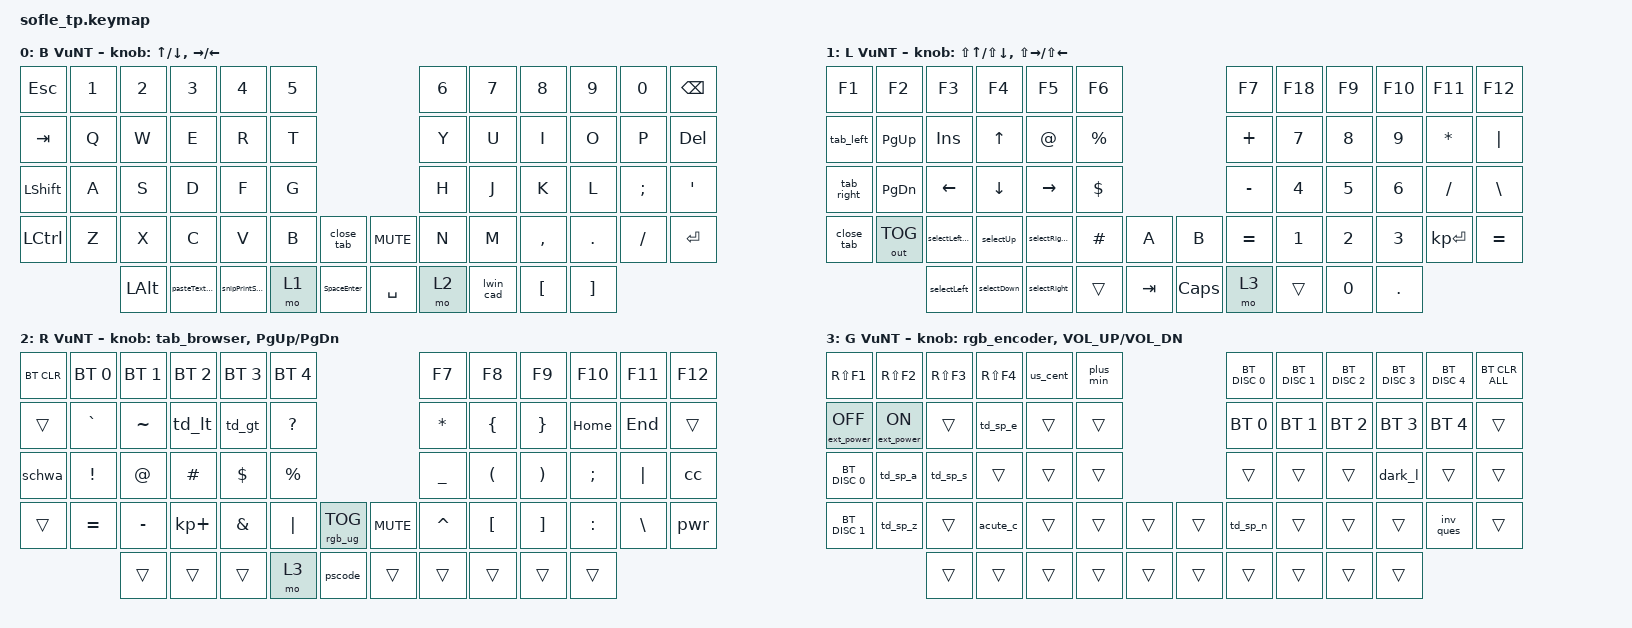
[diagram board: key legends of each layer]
/*
 * Copyright (c) 2020 The ZMK Contributors
 *
 * SPDX-License-Identifier: MIT
 */
#include <behaviors.dtsi>
#include <dt-bindings/zmk/bt.h>
#include <dt-bindings/zmk/ext_power.h>
#include <dt-bindings/zmk/keys.h>
#include <dt-bindings/zmk/outputs.h>
#include <dt-bindings/zmk/rgb.h>
#define BASE 0
#define LOWER 1
#define MOUSE_KEYS 2
#define MOUSE_TP 3
#define MOUSE_TP_SET 4
/*
 * Defines to enable/disable features
 *
 * These defines allow us to conditionally enable and disable parts of the keymap config.
 *
 * For example, if we decide to build the firmware without the mouse features, we can
 * disable all the config options that rely on those forks and modules without having
 * to edit the entire keymap file manually every time.
 */
#define HAS_MOUSE_KEYS
#define HAS_MOUSE_TP
#ifdef HAS_MOUSE_KEYS
  #include <dt-bindings/zmk/mouse.h>
  #include <behaviors/mouse_keys.dtsi>
#endif  // HAS_MOUSE_KEYS
#ifdef HAS_MOUSE_TP
  // We store the trackpoint settings in a separate file
  // to make organization a little easier.
  #include "include/mouse_tp.dtsi"
#endif  // HAS_MOUSE_TP
// Adjust layer keys based on enabled features.
//
// This prevents build errors when we build the firmware
// without the mouse keys PR or the TP module.
#ifdef HAS_MOUSE_KEYS
  #define U_THUMB_INNER &mo MOUSE_KEYS
#else
  #define U_THUMB_INNER &none
#endif  // HAS_MOUSE_KEYS
#ifdef HAS_MOUSE_TP
  #define U_TOG_TP_SET &tog MOUSE_TP_SET
#else
  #define U_TOG_TP_SET &none
#endif  // HAS_MOUSE_TP
//Encoder Support
//Alps Alpine EC11N1524402: 30 Detent, 15PPR, 2 Channel, Quadrature, 15000 Cycle
/ {
    left_encoder: encoder_left {
        compatible = "alps,ec11";
        label = "LEFT_ENCODER";
        a-gpios = <&pro_micro 21 (GPIO_ACTIVE_HIGH | GPIO_PULL_UP)>;
        b-gpios = <&pro_micro 20 (GPIO_ACTIVE_HIGH | GPIO_PULL_UP)>;
        steps = <60>;
    };




    sensors {
        compatible = "zmk,keymap-sensors";
        sensors = <&left_encoder &right_encoder>;
        sensors = <&left_encoder>;
        triggers-per-rotation = <30>;
    };
};
/ {
    macros {
        // System and Power
        tm: tm {
            label = "TASK_MANAGER";
            compatible = "zmk,behavior-macro";
            #binding-cells = <0>;
            bindings =
                <&macro_press>,
                <&kp LCTRL &kp LSHFT>,
                <&macro_tap>,
                <&kp ESC>,
                <&macro_release>,
                <&kp LCTRL &kp LSHFT &kp RCTRL &kp K_SCROLL_DOWN &kp RCTRL &kp K_SCROLL_UP>;
        };
        cad: cad {
            label = "CTRL_ALT_DEL";
            compatible = "zmk,behavior-macro";
            #binding-cells = <0>;
            bindings =
                <&macro_press>,
                <&kp LCTRL &kp LALT &kp DEL>,
                <&macro_release>,
                <&kp LCTRL &kp LALT &kp DEL>;
        };
        slp: slp {
            label = "SLEEP";
            compatible = "zmk,behavior-macro";
            #binding-cells = <0>;
            bindings =
                <&macro_press>,
                <&kp LGUI>,
                <&macro_tap>,
                <&kp X>,
                <&macro_release>,
                <&kp LGUI>,
                <&macro_tap>,
                <&kp U &kp S>;
        };
        rst: rst {
            label = "RESTART";
            compatible = "zmk,behavior-macro";
            #binding-cells = <0>;
            bindings =
                <&macro_press>,
                <&kp LGUI>,
                <&macro_tap>,
                <&kp X>,
                <&macro_release>,
                <&kp LGUI>,
                <&macro_tap>,
                <&kp U &kp R>;
        };
        off: off {
            label = "SHUTDOWN";
            compatible = "zmk,behavior-macro";
            #binding-cells = <0>;
            bindings =
                <&macro_press>,
                <&kp LGUI>,
                <&macro_tap>,
                <&kp X>,
                <&macro_release>,
                <&kp LGUI>,
                <&macro_tap>,
                <&kp U &kp U>;
        };
        // Microphones
        teams_mute: teams_mute {
            label = "TEAMS_MUTE";
            compatible = "zmk,behavior-macro";
            #binding-cells = <0>;
            tap-ms = <0>;
            wait-ms = <0>;
            bindings =
                <&macro_tap>,
                <&bt BT_SEL 1>,
                <&macro_wait_time 100>,
                <&macro_press>,
                <&kp LGUI>,
                <&macro_tap>,
                <&kp N3>,
                <&macro_release>,
                <&kp LGUI>,
                <&macro_wait_time 50>,
                <&macro_press>,
                <&kp LCTRL &kp LSHFT>,
                <&macro_tap>,
                <&kp M>,
                <&macro_release>,
                <&kp LCTRL &kp LSHFT>;
        };
        // Browser Controls
        tab_right: tab_right {
            label = "TAB_RIGHT";
            compatible = "zmk,behavior-macro";
            #binding-cells = <0>;
            wait-ms = <0>;
            tap-ms = <0>;
            bindings =
                <&macro_press>,
                <&kp LCTRL>,
                <&macro_tap>,
                <&kp TAB>,
                <&macro_release>,
                <&kp LCTRL>;
        };
        tab_left: tab_left {
            label = "TAB_LEFT";
            compatible = "zmk,behavior-macro";
            #binding-cells = <0>;
            wait-ms = <0>;
            tap-ms = <0>;
            bindings =
                <&macro_press>,
                <&kp LCTRL &kp LSHFT>,
                <&macro_tap>,
                <&kp TAB>,
                <&macro_release>,
                <&kp LCTRL &kp LSHFT>;
        };
        close_tab: close_tab {
            label = "CLOSE_TAB";
            compatible = "zmk,behavior-macro";
            #binding-cells = <0>;
            wait-ms = <0>;
            tap-ms = <0>;
            bindings =
                <&macro_press>,
                <&kp LCTRL>,
                <&macro_tap>,
                <&kp W>,
                <&macro_release>,
                <&kp LCTRL>;
        };
        //Unicode Special Characters
        //Need regkey HKEY_CURRENT_USER\Control Panel\Input Method, REG_SZ EnableHexNumpad = 1
        //Symbols       
        smfada_a: smfada_a {
            label = "SMALL_FADA_A";
            compatible = "zmk,behavior-macro";
            #binding-cells = <0>;
            tap-ms = <0>;
            wait-ms = <0>;
            bindings =
                <&macro_press>,
                <&kp LALT>,
                <&macro_tap>,
                <&kp KP_PLUS &kp KP_N0 &kp KP_N0 &kp E &kp KP_N1>,
                <&macro_release>,
                <&kp LALT>;
        };
        lfada_a: lfada_a {
            label = "LARGE_FADA_A";
            compatible = "zmk,behavior-macro";
            #binding-cells = <0>;
            tap-ms = <0>;
            wait-ms = <0>;
            bindings =
                <&macro_press>,
                <&kp LALT>,
                <&macro_tap>,
                <&kp KP_PLUS &kp KP_N0 &kp KP_N0 &kp C &kp KP_N1>,
                <&macro_release>,
                <&kp LALT>;
        };
        smumlaut_a: smumlaut_a {
            label = "SMALL_UMLAUT_A";
            compatible = "zmk,behavior-macro";
            #binding-cells = <0>;
            tap-ms = <0>;
            wait-ms = <0>;
            bindings =
                <&macro_press>,
                <&kp LALT>,
                <&macro_tap>,
                <&kp KP_PLUS &kp KP_N0 &kp KP_N0 &kp E &kp KP_N4>,
                <&macro_release>,
                <&kp LALT>;
        };
        lumlaut_a: lumlaut_a {
            label = "LARGE_UMLAUT_A";
            compatible = "zmk,behavior-macro";
            #binding-cells = <0>;
            tap-ms = <0>;
            wait-ms = <0>;
            bindings =
                <&macro_press>,
                <&kp LALT>,
                <&macro_tap>,
                <&kp KP_PLUS &kp KP_N0 &kp KP_N0 &kp C &kp KP_N4>,
                <&macro_release>,
                <&kp LALT>;
        };
        smlat_ae: smlat_ae {
            label = "SMALL_LATIN_AE";
            compatible = "zmk,behavior-macro";
            #binding-cells = <0>;
            tap-ms = <0>;
            wait-ms = <0>;
            bindings =
                <&macro_press>,
                <&kp LALT>,
                <&macro_tap>,
                <&kp KP_PLUS &kp KP_N0 &kp KP_N0 &kp E &kp KP_N6>,
                <&macro_release>,
                <&kp LALT>;
        };
        lglat_ae: lglat_ae {
            label = "LARGE_LATIN_AE";
            compatible = "zmk,behavior-macro";
            #binding-cells = <0>;
            tap-ms = <0>;
            wait-ms = <0>;
            bindings =
                <&macro_press>,
                <&kp LALT>,
                <&macro_tap>,
                <&kp KP_PLUS &kp KP_N0 &kp KP_N0 &kp C &kp KP_N6>,
                <&macro_release>,
                <&kp LALT>;
        };
        smfada_e: smfada_e {
            label = "SMALL_FADA_E";
            compatible = "zmk,behavior-macro";
            #binding-cells = <0>;
            tap-ms = <0>;
            wait-ms = <0>;
            bindings =
                <&macro_press>,
                <&kp LALT>,
                <&macro_tap>,
                <&kp KP_PLUS &kp KP_N0 &kp KP_N0 &kp E &kp KP_N9>,
                <&macro_release>,
                <&kp LALT>;
        };
        lfada_e: lfada_e {
            label = "LARGE_FADA_E";
            compatible = "zmk,behavior-macro";
            #binding-cells = <0>;
            tap-ms = <0>;
            wait-ms = <0>;
            bindings =
                <&macro_press>,
                <&kp LALT>,
                <&macro_tap>,
                <&kp KP_PLUS &kp KP_N0 &kp KP_N0 &kp C &kp KP_N9>,
                <&macro_release>,
                <&kp LALT>;
        };
        smfada_i: smfada_i {
            label = "SMALL_FADA_I";
            compatible = "zmk,behavior-macro";
            #binding-cells = <0>;
            tap-ms = <0>;
            wait-ms = <0>;
            bindings =
                <&macro_press>,
                <&kp LALT>,
                <&macro_tap>,
                <&kp KP_PLUS &kp KP_N0 &kp KP_N0 &kp E &kp D>,
                <&macro_release>,
                <&kp LALT>;
        };
        lfada_i: lfada_i {
            label = "LARGE_FADA_I";
            compatible = "zmk,behavior-macro";
            #binding-cells = <0>;
            tap-ms = <0>;
            wait-ms = <0>;
            bindings =
                <&macro_press>,
                <&kp LALT>,
                <&macro_tap>,
                <&kp KP_PLUS &kp KP_N0 &kp KP_N0 &kp C &kp D>,
                <&macro_release>,
                <&kp LALT>;
        };
        smfada_o: smfada_o {
            label = "SMALL_FADA_O";
            compatible = "zmk,behavior-macro";
            #binding-cells = <0>;
            tap-ms = <0>;
            wait-ms = <0>;
            bindings =
                <&macro_press>,
                <&kp LALT>,
                <&macro_tap>,
                <&kp KP_PLUS &kp KP_N0 &kp KP_N0 &kp F &kp KP_N3>,
                <&macro_release>,
                <&kp LALT>;
        };
        lfada_o: lfada_o {
            label = "LARGE_FADA_O";
            compatible = "zmk,behavior-macro";
            #binding-cells = <0>;
            tap-ms = <0>;
            wait-ms = <0>;
            bindings =
                <&macro_press>,
                <&kp LALT>,
                <&macro_tap>,
                <&kp KP_PLUS &kp KP_N0 &kp KP_N0 &kp D &kp KP_N3>,
                <&macro_release>,
                <&kp LALT>;
        };
        smumlaut_o: smumlaut_o {
            label = "SMALL_UMLAUT_O";
            compatible = "zmk,behavior-macro";
            #binding-cells = <0>;
            tap-ms = <0>;
            wait-ms = <0>;
            bindings =
                <&macro_press>,
                <&kp LALT>,
                <&macro_tap>,
                <&kp KP_PLUS &kp KP_N0 &kp KP_N0 &kp F &kp KP_N6>,
                <&macro_release>,
                <&kp LALT>;
        };
        lumlaut_o: lumlaut_o {
            label = "LARGE_UMLAUT_O";
            compatible = "zmk,behavior-macro";
            #binding-cells = <0>;
            tap-ms = <0>;
            wait-ms = <0>;
            bindings =
                <&macro_press>,
                <&kp LALT>,
                <&macro_tap>,
                <&kp KP_PLUS &kp KP_N0 &kp KP_N0 &kp D &kp KP_N6>,
                <&macro_release>,
                <&kp LALT>;
        };
        smfada_u: smfada_u {
            label = "SMALL_FADA_U";
            compatible = "zmk,behavior-macro";
            #binding-cells = <0>;
            tap-ms = <0>;
            wait-ms = <0>;
            bindings =
                <&macro_press>,
                <&kp LALT>,
                <&macro_tap>,
                <&kp KP_PLUS &kp KP_N0 &kp KP_N0 &kp F &kp A>,
                <&macro_release>,
                <&kp LALT>;
        };
        lfada_u: lfada_u {
            label = "LARGE_FADA_U";
            compatible = "zmk,behavior-macro";
            #binding-cells = <0>;
            tap-ms = <0>;
            wait-ms = <0>;
            bindings =
                <&macro_press>,
                <&kp LALT>,
                <&macro_tap>,
                <&kp KP_PLUS &kp KP_N0 &kp KP_N0 &kp D &kp A>,
                <&macro_release>,
                <&kp LALT>;
        };
        smumlaut_u: smumlaut_u {
            label = "SMALL_UMLAUT_U";
            compatible = "zmk,behavior-macro";
            #binding-cells = <0>;
            tap-ms = <0>;
            wait-ms = <0>;
            bindings =
                <&macro_press>,
                <&kp LALT>,
                <&macro_tap>,
                <&kp KP_PLUS &kp KP_N0 &kp KP_N0 &kp F &kp C>,
                <&macro_release>,
                <&kp LALT>;
        };
        lumlaut_u: lumlaut_u {
            label = "LARGE_UMLAUT_U";
            compatible = "zmk,behavior-macro";
            #binding-cells = <0>;
            tap-ms = <0>;
            wait-ms = <0>;
            bindings =
                <&macro_press>,
                <&kp LALT>,
                <&macro_tap>,
                <&kp KP_PLUS &kp KP_N0 &kp KP_N0 &kp D &kp C>,
                <&macro_release>,
                <&kp LALT>;
        };
        smtil_n: smtil_n {
            label = "SMALL_TILDE_N";
            compatible = "zmk,behavior-macro";
            #binding-cells = <0>;
            tap-ms = <0>;
            wait-ms = <0>;
            bindings =
                <&macro_press>,
                <&kp LALT>,
                <&macro_tap>,
                <&kp KP_PLUS &kp KP_N0 &kp KP_N0 &kp F &kp KP_N1>,
                <&macro_release>,
                <&kp LALT>;
        };
        ltil_n: ltil_n {
            label = "LARGE_TILDE_N";
            compatible = "zmk,behavior-macro";
            #binding-cells = <0>;
            tap-ms = <0>;
            wait-ms = <0>;
            bindings =
                <&macro_press>,
                <&kp LALT>,
                <&macro_tap>,
                <&kp KP_PLUS &kp KP_N0 &kp KP_N0 &kp D &kp KP_N1>,
                <&macro_release>,
                <&kp LALT>;
        };
        essette_s: essette_s {
            label = "ESSETTE_S";
            compatible = "zmk,behavior-macro";
            #binding-cells = <0>;
            tap-ms = <0>;
            wait-ms = <0>;
            bindings =
                <&macro_press>,
                <&kp LALT>,
                <&macro_tap>,
                <&kp KP_PLUS &kp KP_N0 &kp KP_N0 &kp D &kp F>,
                <&macro_release>,
                <&kp LALT>;
        };
        euro: euro {
            label = "EURO";
            compatible = "zmk,behavior-macro";
            #binding-cells = <0>;
            tap-ms = <0>;
            wait-ms = <0>;
            bindings =
                <&macro_press>,
                <&kp LALT>,
                <&macro_tap>,
                <&kp KP_PLUS &kp KP_N2 &kp KP_N0 &kp A &kp C>,
                <&macro_release>,
                <&kp LALT>;
        };
        us_cent: us_cent {
            label = "US_CENT";
            compatible = "zmk,behavior-macro";
            #binding-cells = <0>;
            tap-ms = <0>;
            wait-ms = <0>;
            bindings =
                <&macro_press>,
                <&kp LALT>,
                <&macro_tap>,
                <&kp KP_PLUS &kp KP_N0 &kp KP_N0 &kp A &kp KP_N2>,
                <&macro_release>,
                <&kp LALT>;
        };
        uk_pnd: uk_pnd {
            label = "UK_POUND";
            compatible = "zmk,behavior-macro";
            #binding-cells = <0>;
            tap-ms = <0>;
            wait-ms = <0>;
            bindings =
                <&macro_press>,
                <&kp LALT>,
                <&macro_tap>,
                <&kp KP_PLUS &kp KP_N0 &kp KP_N0 &kp A &kp KP_N3>,
                <&macro_release>,
                <&kp LALT>;
        };
        degree: degree {
            label = "DEGREE_SIGN";
            compatible = "zmk,behavior-macro";
            #binding-cells = <0>;
            tap-ms = <0>;
            wait-ms = <0>;
            bindings =
                <&macro_press>,
                <&kp LALT>,
                <&macro_tap>,
                <&kp KP_PLUS &kp KP_N0 &kp KP_N0 &kp B &kp KP_N0>,
                <&macro_release>,
                <&kp LALT>;
        };
        inv_exc: inv_exc {
            label = "INVERTED_EXCLAMATION_MARK";
            compatible = "zmk,behavior-macro";
            #binding-cells = <0>;
            tap-ms = <0>;
            wait-ms = <0>;
            bindings =
                <&macro_press>,
                <&kp LALT>,
                <&macro_tap>,
                <&kp KP_PLUS &kp KP_N0 &kp KP_N0 &kp A &kp KP_N1>,
                <&macro_release>,
                <&kp LALT>;
        };
        inv_ques: inv_ques {
            label = "INVERTED_QUESTION_MARK";
            compatible = "zmk,behavior-macro";
            #binding-cells = <0>;
            tap-ms = <0>;
            wait-ms = <0>;
            bindings =
                <&macro_press>,
                <&kp LALT>,
                <&macro_tap>,
                <&kp KP_PLUS &kp KP_N0 &kp KP_N0 &kp B &kp F>,
                <&macro_release>,
                <&kp LALT>;
        };
        plus_min: plus_min {
            label = "PLUS_MINUS_SIGN";
            compatible = "zmk,behavior-macro";
            #binding-cells = <0>;
            tap-ms = <0>;
            wait-ms = <0>;
            bindings =
                <&macro_press>,
                <&kp LALT>,
                <&macro_tap>,
                <&kp KP_PLUS &kp KP_N0 &kp KP_N0 &kp B &kp KP_N1>,
                <&macro_release>,
                <&kp LALT>;
        };
        //IPA
        schwa: schwa {
            label = "SCHWA";
            compatible = "zmk,behavior-macro";
            #binding-cells = <0>;
            tap-ms = <0>;
            wait-ms = <0>;
            bindings =
                <&macro_press>,
                <&kp LALT>,
                <&macro_tap>,
                <&kp KP_PLUS &kp KP_N0 &kp KP_N2 &kp KP_N5 &kp KP_N9>,
                <&macro_release>,
                <&kp LALT>;
        };
        //Diacritical Characters
        smogo_a: smogo_a {
            label = "SMALL_OGONEK_A";
            compatible = "zmk,behavior-macro";
            #binding-cells = <0>;
            tap-ms = <0>;
            wait-ms = <0>;
            bindings =
                <&macro_press>,
                <&kp LALT>,
                <&macro_tap>,
                <&kp KP_PLUS &kp KP_N0 &kp KP_N1 &kp KP_N0 &kp KP_N5>,
                <&macro_release>,
                <&kp LALT>;
        };
        logo_a: logo_a {
            label = "LARGE_OGONEK_A";
            compatible = "zmk,behavior-macro";
            #binding-cells = <0>;
            tap-ms = <0>;
            wait-ms = <0>;
            bindings =
                <&macro_press>,
                <&kp LALT>,
                <&macro_tap>,
                <&kp KP_PLUS &kp KP_N0 &kp KP_N1 &kp KP_N0 &kp KP_N4>,
                <&macro_release>,
                <&kp LALT>;
        };
        smogo_e: smogo_e {
            label = "SMALL_OGONEK_E";
            compatible = "zmk,behavior-macro";
            #binding-cells = <0>;
            tap-ms = <0>;
            wait-ms = <0>;
            bindings =
                <&macro_press>,
                <&kp LALT>,
                <&macro_tap>,
                <&kp KP_PLUS &kp KP_N0 &kp KP_N1 &kp KP_N1 &kp KP_N9>,
                <&macro_release>,
                <&kp LALT>;
        };
        logo_e: logo_e {
            label = "LARGE_OGONEK_E";
            compatible = "zmk,behavior-macro";
            #binding-cells = <0>;
            tap-ms = <0>;
            wait-ms = <0>;
            bindings =
                <&macro_press>,
                <&kp LALT>,
                <&macro_tap>,
                <&kp KP_PLUS &kp KP_N0 &kp KP_N1 &kp KP_N1 &kp KP_N8>,
                <&macro_release>,
                <&kp LALT>;
        };
        smacute_c: smacute_c {
            label = "SMALL_ACUTE_C";
            compatible = "zmk,behavior-macro";
            #binding-cells = <0>;
            tap-ms = <0>;
            wait-ms = <0>;
            bindings =
                <&macro_press>,
                <&kp LALT>,
                <&macro_tap>,
                <&kp KP_PLUS &kp KP_N0 &kp KP_N1 &kp KP_N0 &kp KP_N7>,
                <&macro_release>,
                <&kp LALT>;
        };
        lacute_c: lacute_c {
            label = "LARGE_ACUTE_C";
            compatible = "zmk,behavior-macro";
            #binding-cells = <0>;
            tap-ms = <0>;
            wait-ms = <0>;
            bindings =
                <&macro_press>,
                <&kp LALT>,
                <&macro_tap>,
                <&kp KP_PLUS &kp KP_N0 &kp KP_N1 &kp KP_N0 &kp KP_N6>,
                <&macro_release>,
                <&kp LALT>;
        };
        smdark_l: smdark_l {
            label = "SMALL_DARK_L";
            compatible = "zmk,behavior-macro";
            #binding-cells = <0>;
            tap-ms = <0>;
            wait-ms = <0>;
            bindings =
                <&macro_press>,
                <&kp LALT>,
                <&macro_tap>,
                <&kp KP_PLUS &kp KP_N0 &kp KP_N1 &kp KP_N4 &kp KP_N2>,
                <&macro_release>,
                <&kp LALT>;
        };
        ldark_l: ldark_l {
            label = "LARGE_DARK_L";
            compatible = "zmk,behavior-macro";
            #binding-cells = <0>;
            tap-ms = <0>;
            wait-ms = <0>;
            bindings =
                <&macro_press>,
                <&kp LALT>,
                <&macro_tap>,
                <&kp KP_PLUS &kp KP_N0 &kp KP_N1 &kp KP_N4 &kp KP_N1>,
                <&macro_release>,
                <&kp LALT>;
        };
        smacute_n: smacute_n {
            label = "SMALL_ACUTE_N";
            compatible = "zmk,behavior-macro";
            #binding-cells = <0>;
            tap-ms = <0>;
            wait-ms = <0>;
            bindings =
                <&macro_press>,
                <&kp LALT>,
                <&macro_tap>,
                <&kp KP_PLUS &kp KP_N0 &kp KP_N1 &kp KP_N4 &kp KP_N4>,
                <&macro_release>,
                <&kp LALT>;
        };
        lacute_n: lacute_n {
            label = "LARGE_ACUTE_N";
            compatible = "zmk,behavior-macro";
            #binding-cells = <0>;
            tap-ms = <0>;
            wait-ms = <0>;
            bindings =
                <&macro_press>,
                <&kp LALT>,
                <&macro_tap>,
                <&kp KP_PLUS &kp KP_N0 &kp KP_N1 &kp KP_N4 &kp KP_N3>,
                <&macro_release>,
                <&kp LALT>;
        };
        smacute_s: smacute_s {
            label = "SMALL_ACUTE_S";
            compatible = "zmk,behavior-macro";
            #binding-cells = <0>;
            tap-ms = <0>;
            wait-ms = <0>;
            bindings =
                <&macro_press>,
                <&kp LALT>,
                <&macro_tap>,
                <&kp KP_PLUS &kp KP_N0 &kp KP_N1 &kp KP_N5 &kp B>,
                <&macro_release>,
                <&kp LALT>;
        };
        lacute_s: lacute_s {
            label = "LARGE_ACUTE_S";
            compatible = "zmk,behavior-macro";
            #binding-cells = <0>;
            tap-ms = <0>;
            wait-ms = <0>;
            bindings =
                <&macro_press>,
                <&kp LALT>,
                <&macro_tap>,
                <&kp KP_PLUS &kp KP_N0 &kp KP_N1 &kp KP_N5 &kp A>,
                <&macro_release>,
                <&kp LALT>;
        };
        smacute_z: smacute_z {
            label = "SMALL_ACUTE_Z";
            compatible = "zmk,behavior-macro";
            #binding-cells = <0>;
            tap-ms = <0>;
            wait-ms = <0>;
            bindings =
                <&macro_press>,
                <&kp LALT>,
                <&macro_tap>,
                <&kp KP_PLUS &kp KP_N0 &kp KP_N1 &kp KP_N7 &kp A>,
                <&macro_release>,
                <&kp LALT>;
        };
        lacute_z: lacute_z {
            label = "LARGE_ACUTE_Z";
            compatible = "zmk,behavior-macro";
            #binding-cells = <0>;
            tap-ms = <0>;
            wait-ms = <0>;
            bindings =
                <&macro_press>,
                <&kp LALT>,
                <&macro_tap>,
                <&kp KP_PLUS &kp KP_N0 &kp KP_N1 &kp KP_N7 &kp KP_N9>,
                <&macro_release>,
                <&kp LALT>;
        };
        smdot_z: smdot_z {
            label = "SMALL_DOT_Z";
            compatible = "zmk,behavior-macro";
            #binding-cells = <0>;
            tap-ms = <0>;
            wait-ms = <0>;
            bindings =
                <&macro_press>,
                <&kp LALT>,
                <&macro_tap>,
                <&kp KP_PLUS &kp KP_N0 &kp KP_N1 &kp KP_N7 &kp C>,
                <&macro_release>,
                <&kp LALT>;
        };
        ldot_z: ldot_z {
            label = "LARGE_DOT_Z";
            compatible = "zmk,behavior-macro";
            #binding-cells = <0>;
            tap-ms = <0>;
            wait-ms = <0>;
            bindings =
                <&macro_press>,
                <&kp LALT>,
                <&macro_tap>,
                <&kp KP_PLUS &kp KP_N0 &kp KP_N1 &kp KP_N7 &kp B>,
                <&macro_release>,
                <&kp LALT>;
        };
        // Fractions
        one_half: one_half {
            label = "ONE_HALF";
            compatible = "zmk,behavior-macro";
            #binding-cells = <0>;
            tap-ms = <0>;
            wait-ms = <0>;
            bindings =
                <&macro_press>,
                <&kp LALT>,
                <&macro_tap>,
                <&kp KP_PLUS &kp KP_N0 &kp KP_N0 &kp B &kp D>,
                <&macro_release>,
                <&kp LALT>;
        };
        one_third: one_third {
            label = "ONE_THIRD";
            compatible = "zmk,behavior-macro";
            #binding-cells = <0>;
            tap-ms = <0>;
            wait-ms = <0>;
            bindings =
                <&macro_press>,
                <&kp LALT>,
                <&macro_tap>,
                <&kp KP_PLUS &kp KP_N2 &kp KP_N1 &kp KP_N5 &kp KP_N3>,
                <&macro_release>,
                <&kp LALT>;
        };
        one_fourth: one_fourth {
            label = "ONE_FOURTH";
            compatible = "zmk,behavior-macro";
            #binding-cells = <0>;
            tap-ms = <0>;
            wait-ms = <0>;
            bindings =
                <&macro_press>,
                <&kp LALT>,
                <&macro_tap>,
                <&kp KP_PLUS &kp KP_N0 &kp KP_N0 &kp B &kp C>,
                <&macro_release>,
                <&kp LALT>;
        };
        one_eighth: one_eighth {
            label = "ONE_EIGHTH";
            compatible = "zmk,behavior-macro";
            #binding-cells = <0>;
            tap-ms = <0>;
            wait-ms = <0>;
            bindings =
                <&macro_press>,
                <&kp LALT>,
                <&macro_tap>,
                <&kp KP_PLUS &kp KP_N2 &kp KP_N1 &kp KP_N5 &kp B>,
                <&macro_release>,
                <&kp LALT>;
        };
        two_thirds: two_thirds {
            label = "TWO_THIRDS";
            compatible = "zmk,behavior-macro";
            #binding-cells = <0>;
            tap-ms = <0>;
            wait-ms = <0>;
            bindings =
                <&macro_press>,
                <&kp LALT>,
                <&macro_tap>,
                <&kp KP_PLUS &kp KP_N2 &kp KP_N1 &kp KP_N5 &kp KP_N4>,
                <&macro_release>,
                <&kp LALT>;
        };
        three_fourths: three_fourths {
            label = "THREE_FOURTHS";
            compatible = "zmk,behavior-macro";
            #binding-cells = <0>;
            tap-ms = <0>;
            wait-ms = <0>;
            bindings =
                <&macro_press>,
                <&kp LALT>,
                <&macro_tap>,
                <&kp KP_PLUS &kp KP_N0 &kp KP_N0 &kp B &kp E>,
                <&macro_release>,
                <&kp LALT>;
        };
        three_eighths: three_eighths {
            label = "THREE_EIGHTHS";
            compatible = "zmk,behavior-macro";
            #binding-cells = <0>;
            tap-ms = <0>;
            wait-ms = <0>;
            bindings =
                <&macro_press>,
                <&kp LALT>,
                <&macro_tap>,
                <&kp KP_PLUS &kp KP_N2 &kp KP_N1 &kp KP_N5 &kp C>,
                <&macro_release>,
                <&kp LALT>;
        };
        five_eighths: five_eighths {
            label = "FIVE_EIGHTHS";
            compatible = "zmk,behavior-macro";
            #binding-cells = <0>;
            tap-ms = <0>;
            wait-ms = <0>;
            bindings =
                <&macro_press>,
                <&kp LALT>,
                <&macro_tap>,
                <&kp KP_PLUS &kp KP_N2 &kp KP_N1 &kp KP_N5 &kp D>,
                <&macro_release>,
                <&kp LALT>;
        };
        seven_eighths: seven_eighths {
            label = "SEVEN_EIGHTHS";
            compatible = "zmk,behavior-macro";
            #binding-cells = <0>;
            tap-ms = <0>;
            wait-ms = <0>;
            bindings =
                <&macro_press>,
                <&kp LALT>,
                <&macro_tap>,
                <&kp KP_PLUS &kp KP_N2 &kp KP_N1 &kp KP_N5 &kp E>,
                <&macro_release>,
                <&kp LALT>;
        };
        // Operators
        less_equ: less_equ {
            label = "LESS_THEN_OR_EQUAL_TO";
            compatible = "zmk,behavior-macro";
            #binding-cells = <0>;
            tap-ms = <0>;
            wait-ms = <0>;
            bindings =
                <&macro_press>,
                <&kp LALT>,
                <&macro_tap>,
                <&kp KP_PLUS &kp KP_N2 &kp KP_N2 &kp KP_N6 &kp KP_N4>,
                <&macro_release>,
                <&kp LALT>;
        };
        gtr_equ: gtr_equ {
            label = "GREATER_THEN_OR_EQUAL_TO";
            compatible = "zmk,behavior-macro";
            #binding-cells = <0>;
            tap-ms = <0>;
            wait-ms = <0>;
            bindings =
                <&macro_press>,
                <&kp LALT>,
                <&macro_tap>,
                <&kp KP_PLUS &kp KP_N2 &kp KP_N2 &kp KP_N6 &kp KP_N5>,
                <&macro_release>,
                <&kp LALT>;
        };
        not_equ: not_equ {
            label = "DOES_NOT_EQUAL";
            compatible = "zmk,behavior-macro";
            #binding-cells = <0>;
            tap-ms = <0>;
            wait-ms = <0>;
            bindings =
                <&macro_press>,
                <&kp LALT>,
                <&macro_tap>,
                <&kp KP_PLUS &kp KP_N2 &kp KP_N2 &kp KP_N6 &kp KP_N0>,
                <&macro_release>,
                <&kp LALT>;
        };
        alm_equ: alm_equ {
            label = "ALMOST_EQUAL";
            compatible = "zmk,behavior-macro";
            #binding-cells = <0>;
            tap-ms = <0>;
            wait-ms = <0>;
            bindings =
                <&macro_press>,
                <&kp LALT>,
                <&macro_tap>,
                <&kp KP_PLUS &kp KP_N2 &kp KP_N2 &kp KP_N4 &kp KP_N8>,
                <&macro_release>,
                <&kp LALT>;
        };
        dbl_left: dbl_left {
            label = "DOUBLE_LEFT_MARKS";
            compatible = "zmk,behavior-macro";
            #binding-cells = <0>;
            tap-ms = <0>;
            wait-ms = <0>;
            bindings =
                <&macro_press>,
                <&kp LALT>,
                <&macro_tap>,
                <&kp KP_PLUS &kp KP_N0 &kp KP_N0 &kp A &kp B>,
                <&macro_release>,
                <&kp LALT>;
        };
        dbl_right: dbl_right {
            label = "DOUBLE_RIGHT_MARKS";
            compatible = "zmk,behavior-macro";
            #binding-cells = <0>;
            tap-ms = <0>;
            wait-ms = <0>;
            bindings =
                <&macro_press>,
                <&kp LALT>,
                <&macro_tap>,
                <&kp KP_PLUS &kp KP_N0 &kp KP_N0 &kp B &kp B>,
                <&macro_release>,
                <&kp LALT>;
        };
        zoomin: zoomin {
            compatible = "zmk,behavior-macro";
            #binding-cells = <0>;
            bindings =
                <&macro_press>,
                <&kp RCTRL>,
                <&macro_tap>,
                <&kp PLUS>,
                <&macro_release>,
                <&kp RCTRL>;
            label = "ZOOMIN";
        };
        zoomout: zoomout {
            compatible = "zmk,behavior-macro";
            #binding-cells = <0>;
            bindings =
                <&macro_press>,
                <&kp RCTRL>,
                <&macro_tap>,
                <&kp MINUS>,
                <&macro_release>,
                <&kp RCTRL>;
            label = "ZOOMOUT";
        };
        selectUp: selectUp {
            compatible = "zmk,behavior-macro";
            #binding-cells = <0>;
            bindings =
                <&macro_press>,
                <&kp LEFT_SHIFT>,
                <&macro_tap>,
                <&kp UP_ARROW>,
                <&macro_release>,
                <&kp LEFT_SHIFT>;
            label = "SELECTUP";
        };
        selectDown: selectDown {
            compatible = "zmk,behavior-macro";
            #binding-cells = <0>;
            bindings =
                <&macro_press>,
                <&kp LEFT_SHIFT>,
                <&macro_tap>,
                <&kp DOWN_ARROW>,
                <&macro_release>,
                <&kp LEFT_SHIFT>;
            label = "SELECTDOWN";
        };
        selectLeft: selectLeft {
            compatible = "zmk,behavior-macro";
            #binding-cells = <0>;
            bindings =
                <&macro_press>,
                <&kp LEFT_SHIFT>,
                <&macro_tap>,
                <&kp LEFT_ARROW>,
                <&macro_release>,
                <&kp LEFT_SHIFT>;
            label = "SELECTLEFT";
        };
        selectRight: selectRight {
            compatible = "zmk,behavior-macro";
            #binding-cells = <0>;
            bindings =
                <&macro_press>,
                <&kp LEFT_SHIFT>,
                <&macro_tap>,
                <&kp RIGHT_ARROW>,
                <&macro_release>,
                <&kp LEFT_SHIFT>;
            label = "SELECTRIGHT";
        };
        selectLeftWord: selectLeftWord {
            compatible = "zmk,behavior-macro";
            #binding-cells = <0>;
            bindings =
                <&macro_press>,
                <&kp LEFT_SHIFT &kp RCTRL>,
                <&macro_tap>,
                <&kp LEFT_ARROW>,
                <&macro_release>,
                <&kp LEFT_SHIFT &kp RCTRL>;
            label = "SELECTLEFTWORD";
        };
        selectRightWord: selectRightWord {
            compatible = "zmk,behavior-macro";
            #binding-cells = <0>;
            bindings =
                <&macro_press>,
                <&kp LEFT_SHIFT &kp RCTRL>,
                <&macro_tap>,
                <&kp RIGHT_ARROW>,
                <&macro_release>,
                <&kp LEFT_SHIFT &kp RCTRL>;
            label = "SELECTRIGHTWORD";
        };
        pasteTextOnly: pasteTextOnly {
            compatible = "zmk,behavior-macro";
            #binding-cells = <0>;
            bindings =
                <&macro_press>,
                <&kp LEFT_SHIFT &kp RCTRL>,
                <&macro_tap>,
                <&kp V>,
                <&macro_release>,
                <&kp LEFT_SHIFT &kp RCTRL>;
            label = "PASTETEXTONLY";
        };
        snipScreen: snipScreen {
            compatible = "zmk,behavior-macro";
            #binding-cells = <0>;
            bindings =
                <&macro_press>,
                <&kp LS(LEFT_WIN)>,
                <&macro_tap>,
                <&kp S>,
                <&macro_release>,
                <&kp LS(LEFT_WIN)>;
            label = "SNIPSCREEN";
        };
        pastePowerpoint: pastePowerpoint {
            compatible = "zmk,behavior-macro";
            #binding-cells = <0>;
            bindings =
                <&macro_press>,
                <&kp LEFT_ALT>,
                <&macro_tap>,
                <&kp H>,
                <&macro_tap>,
                <&kp V>,
                <&macro_tap>,
                <&kp T>,
                <&macro_release>,
                <&kp LEFT_ALT>;
            label = "PASTEPOWERPOINT";
            wait-ms = <1>;
            tap-ms = <1>;
        };
    };
};
//Combos, note that key listing is zero indexed
//lshift: 36
//rshift: 49
/ {
    combos {
        compatible = "zmk,combos";
        // Characters
        combo_sm_lat_ae {
            timeout-ms = <200>;
            layers = <3>;
            key-positions = <15 25>;
            bindings = <&smlat_ae>;
        };
        combo_lg_lat_ae {
            timeout-ms = <200>;
            layers = <3>;
            key-positions = <15 25 49>;
            bindings = <&lglat_ae>;
        };
        // Fractions
        combo_one_half {
            timeout-ms = <20>;
            layers = <0>;
            key-positions = <1 2>;
            bindings = <&one_half>;
        };
        combo_one_third {
            timeout-ms = <20>;
            layers = <0>;
            key-positions = <1 3>;
            bindings = <&one_third>;
        };
        combo_one_fourth {
            timeout-ms = <20>;
            layers = <0>;
            key-positions = <1 4>;
            bindings = <&one_fourth>;
        };
        combo_one_eighth {
            timeout-ms = <20>;
            layers = <0>;
            key-positions = <1 8>;
            bindings = <&one_eighth>;
        };
        combo_two_thirds {
            timeout-ms = <20>;
            layers = <0>;
            key-positions = <2 3>;
            bindings = <&two_thirds>;
        };
        combo_three_fourths {
            timeout-ms = <20>;
            layers = <0>;
            key-positions = <3 4>;
            bindings = <&three_fourths>;
        };
        combo_three_eighths {
            timeout-ms = <20>;
            layers = <0>;
            key-positions = <3 8>;
            bindings = <&three_eighths>;
        };
        combo_five_eighths {
            timeout-ms = <20>;
            layers = <0>;
            key-positions = <5 8>;
            bindings = <&five_eighths>;
        };
        combo_seven_eighths {
            timeout-ms = <20>;
            layers = <0>;
            key-positions = <7 8>;
            bindings = <&seven_eighths>;
        };
        // Operators
        combo_less_equal {
            timeout-ms = <200>;
            layers = <2>;
            key-positions = <15 37>;
            bindings = <&less_equ>;
        };
        combo_gtr_equal {
            timeout-ms = <200>;
            layers = <2>;
            key-positions = <16 37>;
            bindings = <&gtr_equ>;
        };
        combo_not_equal {
            timeout-ms = <200>;
            layers = <2>;
            key-positions = <25 37>;
            bindings = <&not_equ>;
        };
        combo_almost_equal {
            timeout-ms = <200>;
            layers = <2>;
            key-positions = <14 37>;
            bindings = <&alm_equ>;
        };
    };
};
// Mod Morphs, Encoder, Tap-Dances
/ {
    behaviors {
        // Mod Morph
        // RGB
        rgb_bri_sat_inc: rgb_bri_sat_inc {
            compatible = "zmk,behavior-mod-morph";
            label = "RGB_BRIGHTNESS_SATURATION_INCREASE";
            #binding-cells = <0>;
            bindings = <&rgb_ug RGB_SAI>, <&rgb_ug RGB_BRI>;
            mods = <(MOD_LALT|MOD_RALT)>;
        };
        rgb_bri_sat_dec: rgb_bri_sat_dec {
            compatible = "zmk,behavior-mod-morph";
            label = "RGB_BRIGHTNESS_SATURATION_DECREASE";
            #binding-cells = <0>;
            bindings = <&rgb_ug RGB_SAD>, <&rgb_ug RGB_BRD>;
            mods = <(MOD_LALT|MOD_RALT)>;
        };
        rgb_inc: rgb_inc {
            compatible = "zmk,behavior-mod-morph";
            label = "RGB_INCREASE";
            #binding-cells = <0>;
            bindings = <&rgb_ug RGB_HUI>, <&rgb_bri_sat_inc>;
            mods = <(MOD_LSFT|MOD_RSFT|MOD_LCTL|MOD_RCTL)>;
        };
        rgb_dec: rgb_dec {
            compatible = "zmk,behavior-mod-morph";
            label = "RGB_DECREASE";
            #binding-cells = <0>;
            bindings = <&rgb_ug RGB_HUD>, <&rgb_bri_sat_dec>;
            mods = <(MOD_LSFT|MOD_RSFT)>;
        };
        // System Functions  
        ret_menu: ret_menu {
            compatible = "zmk,behavior-mod-morph";
            label = "RETURN_MENU";
            #binding-cells = <0>;
            bindings = <&kp RET>, <&kp K_APPLICATION>;
            mods = <(MOD_LSFT|MOD_RSFT)>;
        };
        // Special Characters - Capitalizations
        fada_a: fada_a {
            compatible = "zmk,behavior-mod-morph";
            label = "FADA_A";
            #binding-cells = <0>;
            bindings = <&smfada_a>, <&lfada_a>;
            mods = <(MOD_LSFT|MOD_RSFT)>;
        };
        ogonek_a: ogonek_a {
            compatible = "zmk,behavior-mod-morph";
            label = "OGONEK_A";
            #binding-cells = <0>;
            bindings = <&smogo_a>, <&logo_a>;
            mods = <(MOD_LSFT|MOD_RSFT)>;
        };
        umlaut_a: umlaut_a {
            compatible = "zmk,behavior-mod-morph";
            label = "UMLAUT_A";
            #binding-cells = <0>;
            bindings = <&smumlaut_a>, <&lumlaut_a>;
            mods = <(MOD_LSFT|MOD_RSFT)>;
        };
        fada_e: fada_e {
            compatible = "zmk,behavior-mod-morph";
            label = "FADA_E";
            #binding-cells = <0>;
            bindings = <&smfada_e>, <&lfada_e>;
            mods = <(MOD_LSFT|MOD_RSFT)>;
        };
        ogonek_e: ogonek_e {
            compatible = "zmk,behavior-mod-morph";
            label = "OGONEK_E";
            #binding-cells = <0>;
            bindings = <&smogo_e>, <&logo_e>;
            mods = <(MOD_LSFT|MOD_RSFT)>;
        };
        fada_i: fada_i {
            compatible = "zmk,behavior-mod-morph";
            label = "FADA_I";
            #binding-cells = <0>;
            bindings = <&smfada_i>, <&lfada_i>;
            mods = <(MOD_LSFT|MOD_RSFT)>;
        };
        fada_o: fada_o {
            compatible = "zmk,behavior-mod-morph";
            label = "FADA_O";
            #binding-cells = <0>;
            bindings = <&smfada_o>, <&lfada_o>;
            mods = <(MOD_LSFT|MOD_RSFT)>;
        };
        umlaut_o: umlaut_o {
            compatible = "zmk,behavior-mod-morph";
            label = "UMLAUT_O";
            #binding-cells = <0>;
            bindings = <&smumlaut_o>, <&lumlaut_o>;
            mods = <(MOD_LSFT|MOD_RSFT)>;
        };
        fada_u: fada_u {
            compatible = "zmk,behavior-mod-morph";
            label = "FADA_U";
            #binding-cells = <0>;
            bindings = <&smfada_u>, <&lfada_u>;
            mods = <(MOD_LSFT|MOD_RSFT)>;
        };
        umlaut_u: umlaut_u {
            compatible = "zmk,behavior-mod-morph";
            label = "UMLAUT_U";
            #binding-cells = <0>;
            bindings = <&smumlaut_u>, <&lumlaut_u>;
            mods = <(MOD_LSFT|MOD_RSFT)>;
        };
        acute_c: acute_c {
            compatible = "zmk,behavior-mod-morph";
            label = "ACUTE_C";
            #binding-cells = <0>;
            bindings = <&smacute_c>, <&lacute_c>;
            mods = <(MOD_LSFT|MOD_RSFT)>;
        };
        dark_l: dark_l {
            compatible = "zmk,behavior-mod-morph";
            label = "DARK_L";
            #binding-cells = <0>;
            bindings = <&smdark_l>, <&ldark_l>;
            mods = <(MOD_LSFT|MOD_RSFT)>;
        };
        acute_n: acute_n {
            compatible = "zmk,behavior-mod-morph";
            label = "ACUTE_N";
            #binding-cells = <0>;
            bindings = <&smacute_n>, <&lacute_n>;
            mods = <(MOD_LSFT|MOD_RSFT)>;
        };
        tilde_n: tilde_n {
            compatible = "zmk,behavior-mod-morph";
            label = "TILDE_N";
            #binding-cells = <0>;
            bindings = <&smtil_n>, <&ltil_n>;
            mods = <(MOD_LSFT|MOD_RSFT)>;
        };
        acute_s: acute_s {
            compatible = "zmk,behavior-mod-morph";
            label = "ACUTE_S";
            #binding-cells = <0>;
            bindings = <&smacute_s>, <&lacute_s>;
            mods = <(MOD_LSFT|MOD_RSFT)>;
        };
        acute_z: acute_z {
            compatible = "zmk,behavior-mod-morph";
            label = "ACUTE_Z";
            #binding-cells = <0>;
            bindings = <&smacute_z>, <&lacute_z>;
            mods = <(MOD_LSFT|MOD_RSFT)>;
        };
        dot_z: dot_z {
            compatible = "zmk,behavior-mod-morph";
            label = "DOT_Z";
            #binding-cells = <0>;
            bindings = <&smdot_z>, <&ldot_z>;
            mods = <(MOD_LSFT|MOD_RSFT)>;
        };
        // Special Characters - Other
        lb_euro: lb_euro {
            compatible = "zmk,behavior-mod-morph";
            label = "POUND_EURO";
            #binding-cells = <0>;
            bindings = <&uk_pnd>, <&euro>;
            mods = <(MOD_LSFT|MOD_RSFT)>;
        };
        // Encoder
        rgb_encoder: rgb_encoder {
            compatible = "zmk,behavior-sensor-rotate";
            label = "RGB_ENCODER";
            #sensor-binding-cells = <0>;
            bindings = <&rgb_inc>, <&rgb_dec>;
        };
        tab_browser: tab_browser {
            compatible = "zmk,behavior-sensor-rotate";
            label = "TAB_BROWSER";
            #sensor-binding-cells = <0>;
            bindings = <&tab_left>, <&tab_right>;
        };
        // Tap Dance
        cc: cc {
            compatible = "zmk,behavior-tap-dance";
            label = "COLOR_CYCLE";
            #binding-cells = <0>;
            tapping-term-ms = <200>;
            bindings =
                <&rgb_ug RGB_COLOR_HSB(0,100,20)>,
                <&rgb_ug RGB_COLOR_HSB(10,100,20)>,
                <&rgb_ug RGB_COLOR_HSB(35,100,20)>,
                <&rgb_ug RGB_COLOR_HSB(120,100,20)>,
                <&rgb_ug RGB_COLOR_HSB(240,100,20)>,
                <&rgb_ug RGB_COLOR_HSB(285,100,20)>;
        };
        clcw: clcw {
            compatible = "zmk,behavior-tap-dance";
            label = "CAPS_LOCK_CAPS_WORD";
            #binding-cells = <0>;
            tapping-term-ms = <200>;
            bindings = <&kp CLCK>, <&caps_word>;
        };
        lscw: lscw {
            compatible = "zmk,behavior-tap-dance";
            label = "LEFT_SHIFT_CAPS_WORD";
            #binding-cells = <0>;
            tapping-term-ms = <200>;
            bindings = <&kp LSHFT>, <&caps_word>;
        };
        rscw: rscw {
            compatible = "zmk,behavior-tap-dance";
            label = "RIGHT_SHIFT_CAPS_WORD";
            #binding-cells = <0>;
            tapping-term-ms = <200>;
            bindings = <&kp RSHFT>, <&caps_word>;
        };
        stm: stm {
            compatible = "zmk,behavior-tap-dance";
            label = "SHIFT_TASK_MANAGER";
            #binding-cells = <0>;
            tapping-term-ms = <200>;
            bindings = <&kp LSHFT>, <&tm>;
        };
        pwr: pwr {
            compatible = "zmk,behavior-tap-dance";
            label = "POWER_COMMANDS";
            #binding-cells = <0>;
            tapping-term-ms = <200>;
            bindings = <&kp RSHFT>, <&slp>, <&rst>, <&off>;
        };
        td_btr: td_btr {
            compatible = "zmk,behavior-tap-dance";
            label = "TAP_DANCE_BLUE_TOOTH_RELEASE";
            #binding-cells = <0>;
            tapping-term-ms = <200>;
            bindings = <&kp ESC>, <&bt BT_CLR>;
        };
        pscode: pscode {
            compatible = "zmk,behavior-tap-dance";
            label = "POWER_SHELL_CODE";
            #binding-cells = <0>;
            tapping-term-ms = <200>;
            bindings = <&kp F5>, <&kp F8>;
        };
        td_ll_l3: td_ll_l3 {
            compatible = "zmk,behavior-tap-dance";
            label = "TAP_LEFT_LAYER_LAYER_3";
            #binding-cells = <0>;
            tapping-term-ms = <200>;
            bindings = <&mo 1>, <&sl 3>;
        };
        td_rl_l3: td_rl_l3 {
            compatible = "zmk,behavior-tap-dance";
            label = "TAP_RIGHT_LAYER_LAYER_3";
            #binding-cells = <0>;
            tapping-term-ms = <200>;
            bindings = <&mo 2>, <&sl 3>;
        };
        td_sp_a: td_sp_a {
            compatible = "zmk,behavior-tap-dance";
            label = "TAP_SPECIAL_A";
            #binding-cells = <0>;
            tapping-term-ms = <250>;
            bindings = <&fada_a>, <&ogonek_a>, <&umlaut_a>;
        };
        td_sp_e: td_sp_e {
            compatible = "zmk,behavior-tap-dance";
            label = "TAP_SPECIAL_E";
            #binding-cells = <0>;
            tapping-term-ms = <250>;
            bindings = <&fada_e>, <&ogonek_e>;
        };
        td_sp_o: td_sp_o {
            compatible = "zmk,behavior-tap-dance";
            label = "TAP_SPECIAL_O";
            #binding-cells = <0>;
            tapping-term-ms = <250>;
            bindings = <&fada_o>, <&umlaut_o>;
        };
        td_sp_u: td_sp_u {
            compatible = "zmk,behavior-tap-dance";
            label = "TAP_SPECIAL_U";
            #binding-cells = <0>;
            tapping-term-ms = <250>;
            bindings = <&fada_u>, <&umlaut_u>;
        };
        td_sp_n: td_sp_n {
            compatible = "zmk,behavior-tap-dance";
            label = "TAP_SPECIAL_N";
            #binding-cells = <0>;
            tapping-term-ms = <250>;
            bindings = <&acute_n>, <&tilde_n>;
        };
        td_sp_s: td_sp_s {
            compatible = "zmk,behavior-tap-dance";
            label = "TAP_SPECIAL_S";
            #binding-cells = <0>;
            tapping-term-ms = <200>;
            bindings = <&acute_s>, <&essette_s>;
        };
        td_sp_z: td_sp_z {
            compatible = "zmk,behavior-tap-dance";
            label = "TAP_SPECIAL_Z";
            #binding-cells = <0>;
            tapping-term-ms = <200>;
            bindings = <&acute_z>, <&dot_z>;
        };
        td_lt: td_lt {
            compatible = "zmk,behavior-tap-dance";
            label = "LESS_THEN_DOUBLE_LEFT_MARKS";
            #binding-cells = <0>;
            tapping-term-ms = <200>;
            bindings = <&kp LT>, <&dbl_left>;
        };
        td_gt: td_gt {
            compatible = "zmk,behavior-tap-dance";
            label = "GREATER_THAN_DOUBLE_RIGHT_MARKS";
            #binding-cells = <0>;
            tapping-term-ms = <200>;
            bindings = <&kp GT>, <&dbl_right>;
        };
        lwin_cad: lwin_cad {
            compatible = "zmk,behavior-tap-dance";
            label = "LEFT_WINDOWS_CTRL_ALT_DEL";
            #binding-cells = <0>;
            tapping-term-ms = <200>;
            bindings = <&kp LGUI>, <&cad>;
        };
        pasteTextWordPower: pasteTextWordPower {
            compatible = "zmk,behavior-tap-dance";
            label = "PASTETEXTWORDPOWER";
            #binding-cells = <0>;
            tapping-term-ms = <200>;
            bindings = <&kp RS(RC(V))>, <&pastePowerpoint>;
        };
        SpaceEnter: SpaceEnter {
            compatible = "zmk,behavior-tap-dance";
            label = "SPACEENTER";
            #binding-cells = <0>;
            tapping-term-ms = <200>;
            bindings = <&kp SPACE>, <&kp ENTER>;
        };
        snipPrintScreenWindows: snipPrintScreenWindows {
            compatible = "zmk,behavior-tap-dance";
            label = "SNIPPRINTSCREENWINDOWS";
            #binding-cells = <0>;
            tapping-term-ms = <200>;
            bindings = <&snipScreen>, <&kp LA(PRINTSCREEN)>;
        };
    };
    keymap {
        compatible = "zmk,keymap";
        default_layer {
            // ------------------------------------------------------------------------------------------------------------
            // |  ESC  |  1  |  2  |  3   |  4   |  5   |                    |  6   |  7    |  8    |  9   |   0   | DEL   |
            // |  TAB  |  Q  |  W  |  E   |  R   |  T   |                    |  Y   |  U    |  I    |  O   |   P   | BKSPC |
            // | CAPS  |  A  |  S  |  D   |  F   |  G   |                    |  H   |  J    |  K    |  L   |   ;   |   '   |
            // | SHIFT |  Z  |  X  |  C   |  V   |  B   |MUTE SPK|  |ClS  TAB|  N   |  M    |  ,    |  .   |   /   | SHIFT |
            //               | GUI | ALT  | CTRL | LOWER|  ENTER |  | SPACE  | RAISE| CTRL  | ALT   | GUI  |
            label = "B  VuNT";
            bindings = <
&kp ESC         &kp N1  &kp N2        &kp N3               &kp N4                   &kp N5                             &kp N6  &kp N7     &kp N8            &kp N9             &kp N0    &kp BACKSPACE
&kp TAB         &kp Q   &kp W         &kp E                &kp R                    &kp T                              &kp Y   &kp U      &kp I             &kp O              &kp P     &kp DELETE
&kp LEFT_SHIFT  &kp A   &kp S         &kp D                &kp F                    &kp G                              &kp H   &kp J      &kp K             &kp L              &kp SEMI  &kp SQT
&kp LCTRL       &kp Z   &kp X         &kp C                &kp V                    &kp B   &close_tab     &kp K_MUTE  &kp N   &kp M      &kp COMMA         &kp DOT            &kp FSLH  &kp RETURN
                        &kp LEFT_ALT  &pasteTextWordPower  &snipPrintScreenWindows  &mo 1   &SpaceEnter    &kp SPACE   &mo 2   &lwin_cad  &kp LEFT_BRACKET  &kp RIGHT_BRACKET
            >;
            sensor-bindings =
                <&inc_dec_kp UP_ARROW DOWN_ARROW>,
                <&inc_dec_kp RIGHT_ARROW LEFT_ARROW>;
        };
        lower_layer {
            // ------------------------------------------------------------------------------------------------------------
            // |BTCLR| BT1  | BT2  |  BT3  |  BT4  |  BT5 |                | HUE+ |  =  |   /   |   *  |   -   | EFF+ |
            // |BRI+ | PSCR | INS  |   ↑   |   @   |   %  |                | HUE- |  7  |   8   |   9  |   +   | BKSP |
            // |BRI- | RGB  |  ←   |   ↓   |   →   |   $  |                | SAT+ |  4  |   5   |   6  |   +   | SPD+ |
            // |TASK |BT/USB|      |  PREV |  NEXT |   #  |PL/PS |  |      | SAT- |  1  |   2   |   3  | ENTER | SPD- |
            //              |      |       |       |      |      |  |      |  0   |  0  |   0   |   .  |
            label = "L  VuNT";
            bindings = <
&kp F1      &kp F2         &kp F3           &kp F4       &kp F5            &kp F6                          &kp F7     &kp F18  &kp F9  &kp F10  &kp F11       &kp F12
&tab_left   &kp PAGE_UP    &kp INS          &kp UP       &kp AT            &kp PRCNT                       &kp PLUS   &kp N7   &kp N8  &kp N9   &kp ASTERISK  &kp PIPE
&tab_right  &kp PAGE_DOWN  &kp LEFT         &kp DOWN     &kp RIGHT         &kp DLLR                        &kp MINUS  &kp N4   &kp N5  &kp N6   &kp SLASH     &kp BSLH
&close_tab  &out OUT_TOG   &selectLeftWord  &selectUp    &selectRightWord  &kp HASH   &kp A      &kp B     &kp EQUAL  &kp N1   &kp N2  &kp N3   &kp KP_ENTER  &kp EQUAL
                           &selectLeft      &selectDown  &selectRight      &trans     &kp TAB    &kp CAPS  &mo 3      &trans   &kp N0  &kp DOT
            >;
            sensor-bindings =
                <&inc_dec_kp LS(UP_ARROW) LS(DOWN_ARROW)>,
                <&inc_dec_kp LS(RIGHT) LS(LEFT_ARROW)>;
        };
        raise_layer {
            // TODO: Some binds are waiting for shifted keycode support.
            // ------------------------------------------------------------------------------------------------------------
            // |    F1 |  F2 |  F3 |  F4  |  F5  |  F6  |                   |  F7  |  F8   |  F9   |  F10 |  F11  |  F12  |
            // |       |  `  |  ~  |  <   |  >   |  ?   |                   |  *   |  {    |  }    | HOME |  END  |       |
            // |       |  !  |  @  |  #   |  $   |  %   |                   |  _   |  (    |  )    |  ;   |   |   | COLOR |
            // |       |  =  |  -  |  +   |  &   |  |   |  RGB   |  |       |  ^   |  [    |  ]    |  :   |   \   | POWER |
            //               |     |      |      |      |  CODE  |  |       |      |       |       |      |
            label = "R  VuNT";
            bindings = <
&bt BT_CLR  &bt BT_SEL 0  &bt BT_SEL 1  &bt BT_SEL 2  &bt BT_SEL 3  &bt BT_SEL 4                                 &kp F7     &kp F8    &kp F9    &kp F10    &kp F11   &kp F12
&trans      &kp GRAVE     &kp TILDE     &td_lt        &td_gt        &kp QMARK                                    &kp ASTRK  &kp LBRC  &kp RBRC  &kp HOME   &kp END   &trans
&schwa      &kp EXCL      &kp AT        &kp HASH      &kp DLLR      &kp PRCNT                                    &kp UNDER  &kp LPAR  &kp RPAR  &kp SEMI   &kp PIPE  &cc
&trans      &kp EQUAL     &kp MINUS     &kp KP_PLUS   &kp AMPS      &kp PIPE      &rgb_ug RGB_TOG    &kp C_MUTE  &kp CARET  &kp LBKT  &kp RBKT  &kp COLON  &kp BSLH  &pwr
                          &trans        &trans        &trans        &mo 3         &pscode            &trans      &trans     &trans    &trans    &trans
            >;
            sensor-bindings = <&tab_browser>, <&inc_dec_kp PG_UP PG_DN>;
        };
        gaeilge_layer {
            // TODO: Some binds are waiting for shifted keycode support.
            // ------------------------------------------------------------------------------------------------------------
            // |       |  ¡  |  °  |  £   |  ¢   |   ±  |                   |      |       |       |      |       |       |
            // |       |     |     |  é   |      |      |                   |      |   ú   |   í   |   ó  |       |       |
            // |       |  á  |  ś  |      |      |      |                   |      |       |       |   ł  |       |       |
            // |       |  ź  |     |  ć   |      |      |        |  |       |  ń   |       |       |      |   ¿   |       |
            //               |     |      |      |      |        |  |       |      |       |       |      |
            label = "G  VuNT";
            bindings = <
&kp RS(F1)         &kp RS(F2)        &kp RS(F3)  &kp RS(F4)  &us_cent  &plus_min                    &bt BT_DISC 0  &bt BT_DISC 1  &bt BT_DISC 2  &bt BT_DISC 3  &bt BT_DISC 4  &bt BT_CLR_ALL
&ext_power EP_OFF  &ext_power EP_ON  &trans      &td_sp_e    &trans    &trans                       &bt BT_SEL 0   &bt BT_SEL 1   &bt BT_SEL 2   &bt BT_SEL 3   &bt BT_SEL 4   &trans
&bt BT_DISC 0      &td_sp_a          &td_sp_s    &trans      &trans    &trans                       &trans         &trans         &trans         &dark_l        &trans         &trans
&bt BT_DISC 1      &td_sp_z          &trans      &acute_c    &trans    &trans     &trans    &trans  &td_sp_n       &trans         &trans         &trans         &inv_ques      &trans
                                     &trans      &trans      &trans    &trans     &trans    &trans  &trans         &trans         &trans         &trans
            >;
            sensor-bindings = <&rgb_encoder>, <&inc_dec_kp C_VOL_UP C_VOL_DN>;
        };
    };
};
// Allow USB logging
&usbd {
	status = "okay";
	cdc_acm_uart: cdc_acm_uart {
		compatible = "zephyr,cdc-acm-uart";
		label = "CDC_ACM_0";
	};
};
